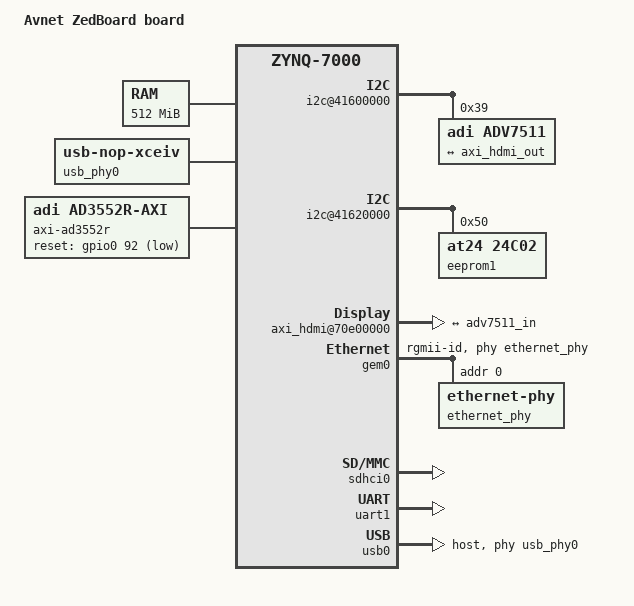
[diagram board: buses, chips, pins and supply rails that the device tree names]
// SPDX-License-Identifier: GPL-2.0
/*
 *  Copyright (C) 2011 - 2014 Xilinx
 *  Copyright (C) 2012 National Instruments Corp.
 */
/dts-v1/;
#include "zynq-7000.dtsi"
#include <dt-bindings/gpio/gpio.h>
#include <dt-bindings/interrupt-controller/irq.h>

/ {
	model = "Avnet ZedBoard board";
	compatible = "avnet,zynq-zed", "xlnx,zynq-zed", "xlnx,zynq-7000";

	aliases {
		ethernet0 = &gem0;
		serial0 = &uart1;
		mmc0 = &sdhci0;
	};

	memory@0 {
		device_type = "memory";
		reg = <0x0 0x20000000>;
	};

	fpga-full {
		compatible = "fpga-region";
		fpga-mgr = <0x04>;
		#address-cells = <0x01>;
		#size-cells = <0x01>;
		ranges;
	};

	chosen {
		bootargs = "";
		stdout-path = "serial0:115200n8";
	};

	usb_phy0: phy0 {
		compatible = "usb-nop-xceiv";
		#phy-cells = <0>;
	};

	fpga_axi: fpga-axi@0 {
		compatible = "simple-bus";
		interrupt-parent = <&intc>;
		#address-cells = <0x1>;
		#size-cells = <0x1>;
		ranges;

		i2c@41600000 {
			compatible = "xlnx,axi-iic-1.01.b", "xlnx,xps-iic-2.00.a";
			reg = <0x41600000 0x10000>;
			interrupt-parent = <&intc>;
			interrupts = <0 58 IRQ_TYPE_LEVEL_HIGH>;
			clocks = <&clkc 15>;
			clock-names = "pclk";

			#size-cells = <0>;
			#address-cells = <1>;

			adv7511: adv7511@39 {
				compatible = "adi,adv7511";
				reg = <0x39>, <0x3f>;
				reg-names = "primary", "edid";

				adi,input-depth = <8>;
				adi,input-colorspace = "yuv422";
				adi,input-clock = "1x";
				adi,input-style = <1>;
				adi,input-justification = "right";
				adi,clock-delay = <0>;

				#sound-dai-cells = <1>;

				ports {
					#address-cells = <1>;
					#size-cells = <0>;

					port@0 {
						reg = <0>;
						adv7511_in: endpoint {
							remote-endpoint = <&axi_hdmi_out>;
						};
					};

					port@1 {
						reg = <1>;
					};
				};
			};
		};

		i2c@41620000 {
			compatible = "xlnx,axi-iic-1.01.b", "xlnx,xps-iic-2.00.a";
			reg = <0x41620000 0x10000>;
			interrupt-parent = <&intc>;
			interrupts = <0 55 IRQ_TYPE_LEVEL_HIGH>;
			clocks = <&clkc 15>;
			clock-names = "pclk";

			#size-cells = <0>;
			#address-cells = <1>;

			eeprom1: eeprom@50 {
				compatible = "at24,24c02";
				reg = <0x50>;
			};
		};

		hdmi_dma: dma@43000000 {
			compatible = "adi,axi-dmac-1.00.a";
			reg = <0x43000000 0x1000>;
			#dma-cells = <1>;
			interrupts = <0 59 IRQ_TYPE_LEVEL_HIGH>;
			clocks = <&clkc 16>;

			adi,channels {
				#size-cells = <0>;
				#address-cells = <1>;

				dma-channel@0 {
					reg = <0>;
					adi,source-bus-width = <64>;
					adi,source-bus-type = <0>;
					adi,destination-bus-width = <64>;
					adi,destination-bus-type = <1>;
				};
			};
		};

		hdmi_clock: axi-clkgen@79000000 {
			compatible = "adi,axi-clkgen-2.00.a";
			reg = <0x79000000 0x10000>;
			#clock-cells = <0>;
			clocks = <&clkc 15>, <&clkc 16>;
			clock-names = "s_axi_aclk", "clkin1";
		};

		axi_hdmi@70e00000 {
			compatible = "adi,axi-hdmi-tx-1.00.a";
			reg = <0x70e00000 0x10000>;
			dmas = <&hdmi_dma 0>;
			dma-names = "video";
			clocks = <&hdmi_clock>;

			port {
				axi_hdmi_out: endpoint {
					remote-endpoint = <&adv7511_in>;
				};
			};
		};

		axi_sysid_0: axi-sysid-0@45000000 {
			compatible = "adi,axi-sysid-1.00.a";
			reg = <0x45000000 0x10000>;
		};
	};
};

&fpga_axi {

	ref_clk: clk@44B00000 {
		compatible = "adi,axi-clkgen-2.00.a";
		reg = <0x44B00000 0x10000>;
		#clock-cells = <0>;
		clocks = <&clkc 15>, <&clkc 15>;
		clock-names = "s_axi_aclk", "clkin1";
		clock-output-names = "ref_clk";
	};

	dac_tx_dma: dma-controller@0x44a30000 {
		compatible = "adi,axi-dmac-1.00.a";
		reg = <0x44a30000 0x10000>;
		#dma-cells = <1>;
		interrupt-parent = <&intc>;
		interrupts = <0 57 IRQ_TYPE_LEVEL_HIGH>;
		clocks = <&clkc 15>;

		adi,channels {
			#size-cells = <0>;
			#address-cells = <1>;

			dma-channel@0 {
				reg = <0>;
				adi,source-bus-width = <32>;
				adi,source-bus-type = <0>;
				adi,destination-bus-width = <32>;
				adi,destination-bus-type = <1>;
			};
		};
	};

	backend: controller@44a70000 {
		compatible = "adi,axi-dac-9.1.b";
		reg = <0x44a70000 0x1000>;
		dmas = <&dac_tx_dma 0>;
		dma-names = "tx";
		#io-backend-cells = <0>;
		clocks = <&ref_clk>;
	};

	axi-ad3552r {
		compatible = "adi,ad3552r-axi";
		reset-gpios = <&gpio0 92 GPIO_ACTIVE_LOW>;
		clocks = <&ref_clk>;
		io-backends = <&backend>;
	};
};

&clkc {
	ps-clk-frequency = <33333333>;
};

&gem0 {
	status = "okay";
	phy-mode = "rgmii-id";
	phy-handle = <&ethernet_phy>;

	ethernet_phy: ethernet-phy@0 {
		reg = <0>;
		device_type = "ethernet-phy";
	};
};

&sdhci0 {
	status = "okay";
};

&uart1 {
	status = "okay";
};

&usb0 {
	status = "okay";
	dr_mode = "host";
	usb-phy = <&usb_phy0>;
};
